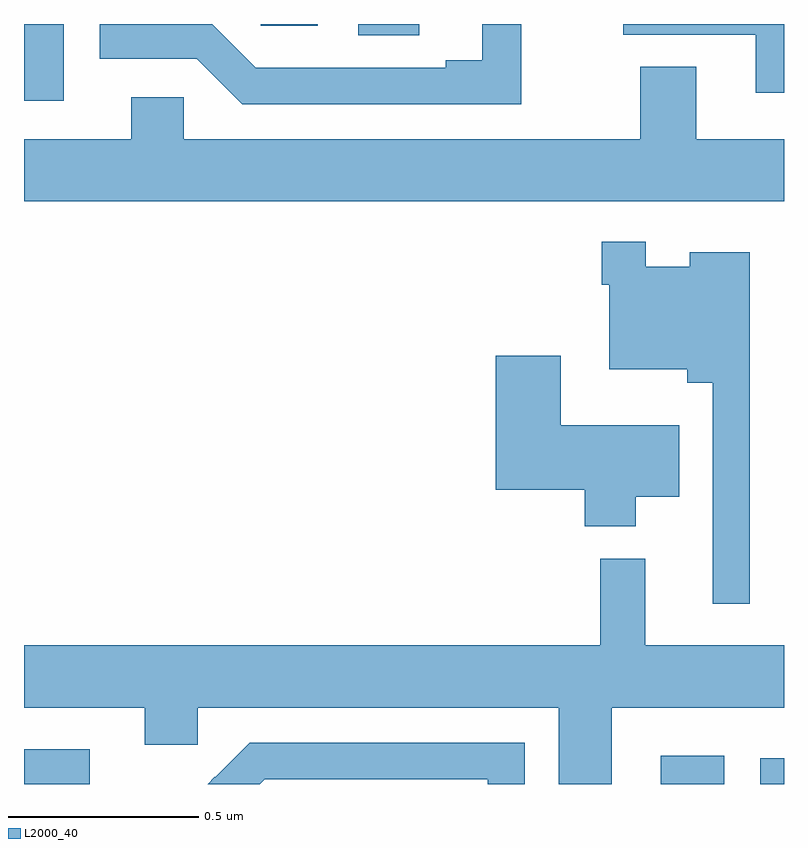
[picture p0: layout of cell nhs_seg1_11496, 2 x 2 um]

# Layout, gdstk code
import gdstk
lib = gdstk.Library(unit=1e-6, precision=1e-09)
def R(c, l, rs):  # rectangles x0, y0, x1, y1
    for r in rs: c.add(gdstk.rectangle(r[:2], r[2:], *l))
def P(c, l, *ps):  # polygons
    for p in ps: c.add(gdstk.Polygon(p, *l))
L2000_40 = (2000, 40)

nhs_seg1_11496 = lib.new_cell('nhs_seg1_11496')
R(nhs_seg1_11496, L2000_40, [(254,550.199,254.173,550.29), (255.675,550.199,255.843,550.273), (255.938,550.199,256,550.267), (254,551.997,254.104,552.199), (254.88,552.169,255.04,552.199), (254.623,552.195,254.773,552.199)])
P(nhs_seg1_11496, L2000_40, [(256,552.199),(255.577,552.199),(255.577,552.171),(255.926,552.171),(255.926,552.018),(256,552.018)],
  [(255.308,552.199),(255.206,552.199),(255.206,552.104),(255.11,552.104),(255.11,552.084),(254.61,552.084),(254.495,552.199),(254.199,552.199),(254.199,552.108),(254.454,552.108),(254.574,551.988),(255.308,551.988)],
  [(256,551.896),(255.769,551.896),(255.769,552.086),(255.622,552.086),(255.622,551.896),(254.421,551.896),(254.421,552.006),(254.282,552.006),(254.282,551.896),(254,551.896),(254,551.732),(256,551.732)],
  [(255.91,551.599),(255.752,551.599),(255.752,551.56),(255.636,551.56),(255.636,551.626),(255.52,551.626),(255.52,551.513),(255.54,551.513),(255.54,551.291),(255.745,551.291),(255.745,551.255),(255.813,551.255),(255.813,550.674),(255.91,550.674)],
  [(255.61,550.955),(255.724,550.955),(255.724,551.143),(255.412,551.143),(255.412,551.326),(255.242,551.326),(255.242,550.973),(255.476,550.973),(255.476,550.877),(255.61,550.877)],
  [(255.547,550.4),(256,550.4),(256,550.564),(255.635,550.564),(255.635,550.792),(255.517,550.792),(255.517,550.564),(254,550.564),(254,550.4),(254.318,550.4),(254.318,550.302),(254.457,550.302),(254.457,550.4),(255.407,550.4),(255.407,550.199),(255.547,550.199)],
  [(254.634,550.212),(255.221,550.212),(255.221,550.199),(255.318,550.199),(255.318,550.308),(254.594,550.308),(254.503,550.217),(254.502,550.218),(254.483,550.199),(254.621,550.199)])

lib.write_gds('nhs_seg1_11496.gds')
